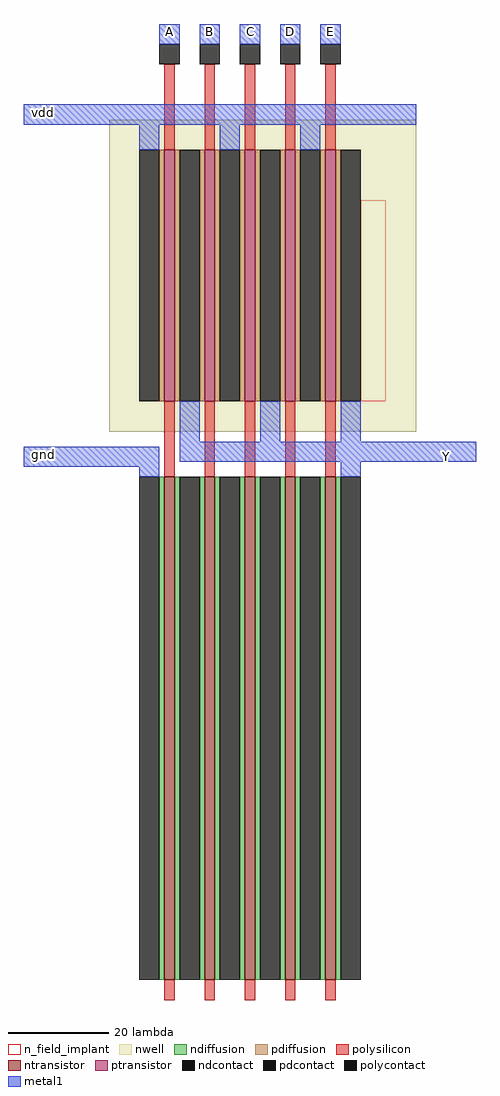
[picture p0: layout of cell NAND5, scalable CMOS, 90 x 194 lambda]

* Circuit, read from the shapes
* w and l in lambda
.subckt NAND5 A B C D E Y gnd vdd
M1 n1 A gnd VSUBS nfet w=100 l=2
M2 n2 B n1 VSUBS nfet w=100 l=2
M3 n3 C n2 VSUBS nfet w=100 l=2
M4 n4 D n3 VSUBS nfet w=100 l=2
M5 Y E n4 VSUBS nfet w=100 l=2
M6 Y A vdd n5 pfet w=50 l=2
M7 vdd B Y n5 pfet w=50 l=2
M8 Y C vdd n5 pfet w=50 l=2
M9 vdd D Y n5 pfet w=50 l=2
M10 Y E vdd n5 pfet w=50 l=2
.ends

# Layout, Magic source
magic
tech scmos
<< nwell >>
rect 9 100 70 162
<< n_field_implant >>
rect 59 106 64 146
<< ntransistor >>
rect 20 -9 22 91
rect 28 -9 30 91
rect 36 -9 38 91
rect 44 -9 46 91
rect 52 -9 54 91
<< ptransistor >>
rect 20 106 22 156
rect 28 106 30 156
rect 36 106 38 156
rect 44 106 46 156
rect 52 106 54 156
<< ndiffusion >>
rect 19 -9 20 91
rect 22 -9 23 91
rect 27 -9 28 91
rect 30 -9 31 91
rect 35 -9 36 91
rect 38 -9 39 91
rect 43 -9 44 91
rect 46 -9 47 91
rect 51 -9 52 91
rect 54 -9 55 91
<< pdiffusion >>
rect 19 106 20 156
rect 22 106 23 156
rect 27 106 28 156
rect 30 106 31 156
rect 35 106 36 156
rect 38 106 39 156
rect 43 106 44 156
rect 46 106 47 156
rect 51 106 52 156
rect 54 106 55 156
<< ndcontact >>
rect 15 -9 19 91
rect 23 -9 27 91
rect 31 -9 35 91
rect 39 -9 43 91
rect 47 -9 51 91
rect 55 -9 59 91
<< pdcontact >>
rect 15 106 19 156
rect 23 106 27 156
rect 31 106 35 156
rect 39 106 43 156
rect 47 106 51 156
rect 55 106 59 156
<< polysilicon >>
rect 20 156 22 173
rect 28 156 30 173
rect 36 156 38 173
rect 44 156 46 173
rect 52 156 54 173
rect 20 91 22 106
rect 28 91 30 106
rect 36 91 38 106
rect 44 91 46 106
rect 52 91 54 106
rect 20 -13 22 -9
rect 28 -13 30 -9
rect 36 -13 38 -9
rect 44 -13 46 -9
rect 52 -13 54 -9
<< polycontact >>
rect 19 173 23 177
rect 27 173 31 177
rect 35 173 39 177
rect 43 173 47 177
rect 51 173 55 177
<< metal1 >>
rect 19 177 23 181
rect 27 177 31 181
rect 35 177 39 181
rect 43 177 47 181
rect 51 177 55 181
rect -8 161 70 165
rect 15 156 19 161
rect 31 156 35 161
rect 47 156 51 161
rect 23 98 27 106
rect 39 98 43 106
rect 55 98 59 106
rect -8 93 19 97
rect 23 94 82 98
rect 15 91 19 93
rect 55 91 59 94
<< labels >>
rlabel metal1 20 179 22 180 5 A
rlabel metal1 28 179 30 180 5 B
rlabel metal1 36 179 38 180 5 C
rlabel metal1 44 179 46 180 5 D
rlabel metal1 52 179 54 180 5 E
rlabel metal1 -5 163 -3 164 3 vdd
rlabel metal1 -5 95 -3 96 3 gnd
rlabel metal1 74 94 78 96 1 Y
<< end >>
